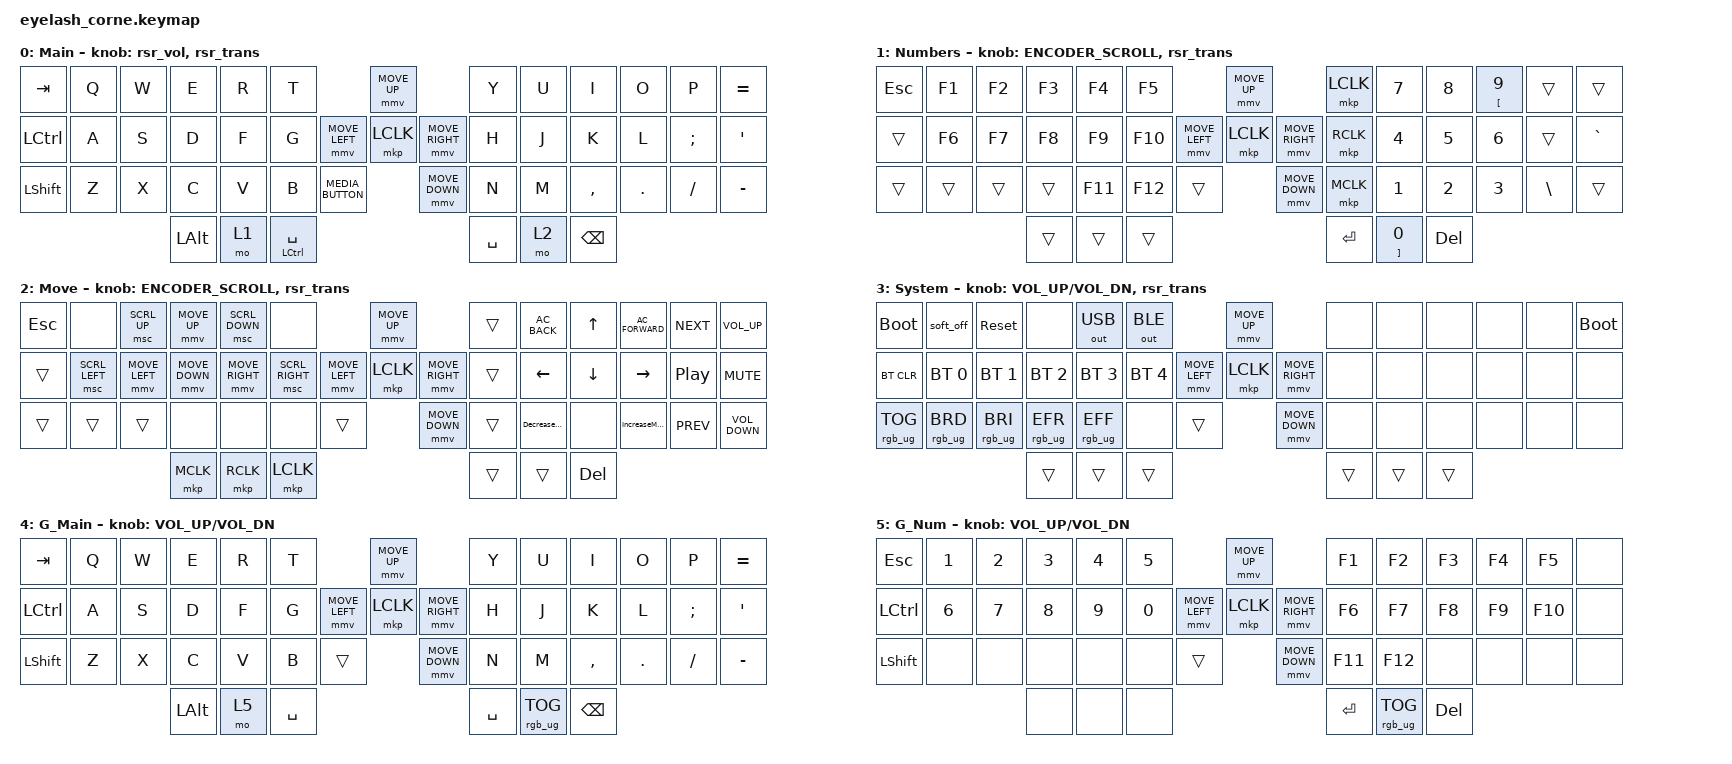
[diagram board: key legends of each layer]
#define ZMK_POINTING_DEFAULT_MOVE_VAL 1200  // 600
#define ZMK_POINTING_DEFAULT_SCRL_VAL 25   // 10

#include <input/processors.dtsi>
#include <zephyr/dt-bindings/input/input-event-codes.h>
#include <behaviors/runtime-sensor-rotate.dtsi>
#include <behaviors.dtsi>
#include <dt-bindings/zmk/bt.h>
#include <dt-bindings/zmk/keys.h>
#include <dt-bindings/zmk/outputs.h>
#include <dt-bindings/zmk/pointing.h>
#include <dt-bindings/zmk/rgb.h>

/ {
    behaviors {
        rsr_vol: rsr_vol {
            compatible = "zmk,behavior-runtime-sensor-rotate";
            #sensor-binding-cells = <0>;
            tap-ms = <5>;
            cw-binding = <&kp C_VOL_UP>;
            ccw-binding = <&kp C_VOL_DN>;
        };

        rsr_trans: rsr_trans {
            compatible = "zmk,behavior-runtime-sensor-rotate";
            #sensor-binding-cells = <0>;
            tap-ms = <0>;
        };

        ALT_WINDOWS: ALT_WINDOWS {
            compatible = "zmk,behavior-tap-dance";
            label = "ALT_WINDOWS";
            #binding-cells = <0>;
            bindings = <&kp LEFT_ALT>, <&kp LEFT_WIN>;
        };

        TAP_PREF: TAP_PREF {
            compatible = "zmk,behavior-hold-tap";
            label = "TAP_PREF";
            bindings = <&kp>, <&kp>;

            #binding-cells = <2>;
            tapping-term-ms = <200>;
            flavor = "tap-preferred";
        };

        SHIFT_CAPS: SHIFT_CAPS {
            compatible = "zmk,behavior-tap-dance";
            label = "SHIFT_CAPS";
            #binding-cells = <0>;
            bindings = <&kp LEFT_SHIFT>, <&kp CAPSLOCK>;
        };

        MEDIA_BUTTON: MEDIA_BUTTON {
            compatible = "zmk,behavior-tap-dance";
            label = "MEDIA_BUTTON";
            #binding-cells = <0>;
            bindings = <&kp C_PP>, <&kp C_NEXT>, <&kp C_PREVIOUS>;
        };

        ENCODER_SCROLL: ENCODER_SCROLL {
            compatible = "zmk,behavior-sensor-rotate";
            label = "ENCODER_SCROLL";
            #sensor-binding-cells = <0>;
            bindings = <&msc SCRL_UP>, <&msc SCRL_DOWN>;
        };
    };

    combos {
        compatible = "zmk,combos";

        Screenshot-Left {
            bindings = <&Screenshot>;
            key-positions = <14 15 16>;
            layers = <0 5>;
        };

        Screenshot-Right {
            bindings = <&Screenshot>;
            key-positions = <26 25 24>;
            layers = <0 4>;
        };

        Home {
            bindings = <&kp HOME>;
            key-positions = <23 24>;
            layers = <2>;
        };

        End {
            bindings = <&kp END>;
            key-positions = <25 24>;
            layers = <2>;
        };

        Pg-Down {
            bindings = <&kp PAGE_DOWN>;
            key-positions = <23 24 25>;
            layers = <2>;
        };

        Pg-Up {
            bindings = <&kp PAGE_UP>;
            key-positions = <9 23 25>;
            layers = <2>;
        };

        ShiftTab {
            bindings = <&ShiftTab>;
            key-positions = <1 0>;
            layers = <0 4 2 1>;
        };

        System-Layer {
            bindings = <&mo 3>;
            key-positions = <43 46>;
            layers = <0>;
        };

        Enable-Gaming-Layer {
            bindings = <&EnableGamingAndRGB>;
            key-positions = <14 2 16>;
            layers = <0>;
        };

        Reset-To-Main-Layer {
            bindings = <&EnableMainLayerAndDisableRGB>;
            key-positions = <15 16 17>;
            layers = <4 5>;
        };

        GamingF1 {
            bindings = <&kp F1>;
            key-positions = <1 2>;
            layers = <5>;
        };

        GamingF2 {
            bindings = <&kp F2>;
            key-positions = <14 15>;
            layers = <5>;
        };

        GamingF3 {
            bindings = <&kp F3>;
            key-positions = <29 30>;
            layers = <5>;
        };

        Windows {
            bindings = <&kp LEFT_WIN>;
            key-positions = <42 43>;
            layers = <0 4>;
        };

        Caps {
            bindings = <&kp CAPS>;
            key-positions = <28 29>;
            layers = <0 1 5>;
        };
    };

    macros {
        Screenshot: Screenshot {
            compatible = "zmk,behavior-macro";
            #binding-cells = <0>;
            bindings = <&kp LG(LS(S))>;
            label = "SCREENSHOT";
        };

        ShiftTab: ShiftTab {
            compatible = "zmk,behavior-macro";
            #binding-cells = <0>;
            bindings = <&kp LS(TAB)>;
            label = "SHIFTTAB";
        };

        IncreaseMouseSpeed: Increase_Mouse_Speed {
            compatible = "zmk,behavior-macro";
            #binding-cells = <0>;
            bindings = <&mmv MOVE_X(100) &mmv MOVE_Y(100)>;
            label = "INCREASE_MOUSE_SPEED";
        };

        DecreaseMouseSpeed: DecreaseMouseSpeed {
            compatible = "zmk,behavior-macro";
            #binding-cells = <0>;
            bindings = <&mmv MOVE_X(-100) &mmv MOVE_Y(-100)>;
            label = "DECREASEMOUSESPEED";
        };

        TogGamingAndRGB: GamingTogAndRGB {
            compatible = "zmk,behavior-macro";
            #binding-cells = <0>;
            bindings = <&rgb_ug RGB_TOG &tog 4>;
            label = "GAMINGTOGANDRGB";
        };

        EnableGamingAndRGB: NEW_ENABLE_GAMING {
            compatible = "zmk,behavior-macro";
            #binding-cells = <0>;
            bindings = <&rgb_ug RGB_ON &to 4>;
            label = "NEW_ENABLE_GAMING";
        };

        EnableMainLayerAndDisableRGB: EnableMainLayerAndDisableRGB {
            compatible = "zmk,behavior-macro";
            #binding-cells = <0>;
            bindings = <&rgb_ug RGB_OFF &to 0>;
            label = "ENABLEMAINLAYERANDDISABLERGB";
        };
    };

    keymap {
        compatible = "zmk,keymap";

        Main {
            display-name = "Main";
            bindings = <
&kp TAB           &kp Q  &kp W  &kp E         &kp R  &kp T                                                    &mmv MOVE_UP                     &kp Y      &kp U  &kp I          &kp O    &kp P     &kp EQUAL
&kp LEFT_CONTROL  &kp A  &kp S  &kp D         &kp F  &kp G                                    &mmv MOVE_LEFT  &mkp LCLK       &mmv MOVE_RIGHT  &kp H      &kp J  &kp K          &kp L    &kp SEMI  &kp SQT
&kp LEFT_SHIFT    &kp Z  &kp X  &kp C         &kp V  &kp B                   &MEDIA_BUTTON                    &mmv MOVE_DOWN                   &kp N      &kp M  &kp COMMA      &kp DOT  &kp FSLH  &kp MINUS
                                &kp LEFT_ALT  &mo 1  &mt LEFT_CONTROL SPACE                                                                    &kp SPACE  &mo 2  &kp BACKSPACE
            >;

            sensor-bindings = <&rsr_vol &rsr_trans>;
            label = "Main";
        };

        Numbers {
            display-name = "Numbers";
            bindings = <
&kp ESCAPE  &kp F1  &kp F2  &kp F3  &kp F4   &kp F5                             &mmv MOVE_UP                     &mkp LCLK  &kp N7                      &kp N8        &TAP_PREF LEFT_BRACKET N9  &trans         &trans
&trans      &kp F6  &kp F7  &kp F8  &kp F9   &kp F10            &mmv MOVE_LEFT  &mkp LCLK       &mmv MOVE_RIGHT  &mkp RCLK  &kp NUMBER_4                &kp N5        &kp NUMBER_6               &trans         &kp GRAVE
&trans      &trans  &trans  &trans  &kp F11  &kp F12  &trans                    &mmv MOVE_DOWN                   &mkp MCLK  &kp NUMBER_1                &kp NUMBER_2  &kp NUMBER_3               &kp BACKSLASH  &trans
                            &trans  &trans   &trans                                                              &kp ENTER  &TAP_PREF RIGHT_BRACKET N0  &kp DELETE
            >;

            sensor-bindings = <&ENCODER_SCROLL>, <&rsr_trans>;
        };

        Move {
            display-name = "Move";
            bindings = <
&kp ESCAPE  &none           &msc SCRL_UP    &mmv MOVE_UP    &msc SCRL_DOWN   &none                                      &mmv MOVE_UP                     &trans  &kp C_AC_BACK        &kp UP_ARROW  &kp C_AC_FORWARD     &kp C_NEXT  &kp C_VOLUME_UP
&trans      &msc SCRL_LEFT  &mmv MOVE_LEFT  &mmv MOVE_DOWN  &mmv MOVE_RIGHT  &msc SCRL_RIGHT            &mmv MOVE_LEFT  &mkp LCLK       &mmv MOVE_RIGHT  &trans  &kp LEFT             &kp DOWN      &kp RIGHT            &kp C_PP    &kp C_MUTE
&trans      &trans          &trans          &none           &none            &none            &trans                    &mmv MOVE_DOWN                   &trans  &DecreaseMouseSpeed  &none         &IncreaseMouseSpeed  &kp C_PREV  &kp C_VOLUME_DOWN
                                            &mkp MCLK       &mkp RCLK        &mkp LCLK                                                                   &trans  &trans               &kp DEL
            >;

            sensor-bindings = <&ENCODER_SCROLL>, <&rsr_trans>;
        };

        System {
            display-name = "System";
            bindings = <
&bootloader      &soft_off        &sys_reset       &none            &out OUT_USB     &out OUT_BLE                            &mmv MOVE_UP                     &none   &none   &none   &none  &none  &bootloader
&bt BT_CLR       &bt BT_SEL 0     &bt BT_SEL 1     &bt BT_SEL 2     &bt BT_SEL 3     &bt BT_SEL 4            &mmv MOVE_LEFT  &mkp LCLK       &mmv MOVE_RIGHT  &none   &none   &none   &none  &none  &none
&rgb_ug RGB_TOG  &rgb_ug RGB_BRD  &rgb_ug RGB_BRI  &rgb_ug RGB_EFR  &rgb_ug RGB_EFF  &none         &trans                    &mmv MOVE_DOWN                   &none   &none   &none   &none  &none  &none
                                                   &trans           &trans           &trans                                                                   &trans  &trans  &trans
            >;

            sensor-bindings = <&inc_dec_kp C_VOLUME_UP C_VOL_DN>, <&rsr_trans>;
        };

        G_Main {
            bindings = <
&kp TAB         &kp Q  &kp W  &kp E         &kp R  &kp T                                &mmv MOVE_UP                     &kp Y      &kp U            &kp I      &kp O    &kp P     &kp EQUAL
&kp LCTRL       &kp A  &kp S  &kp D         &kp F  &kp G                &mmv MOVE_LEFT  &mkp LCLK       &mmv MOVE_RIGHT  &kp H      &kp J            &kp K      &kp L    &kp SEMI  &kp SQT
&kp LEFT_SHIFT  &kp Z  &kp X  &kp C         &kp V  &kp B      &trans                    &mmv MOVE_DOWN                   &kp N      &kp M            &kp COMMA  &kp DOT  &kp FSLH  &kp MINUS
                              &kp LEFT_ALT  &mo 5  &kp SPACE                                                             &kp SPACE  &rgb_ug RGB_TOG  &kp BSPC
            >;

            sensor-bindings = <&inc_dec_kp C_VOLUME_UP C_VOL_DN>;
            label = "G_Main";
        };

        G_Num {
            bindings = <
&kp ESC         &kp N1  &kp N2  &kp N3  &kp N4  &kp N5                            &mmv MOVE_UP                     &kp F1     &kp F2           &kp F3   &kp F4  &kp F5   &none
&kp LCTRL       &kp N6  &kp N7  &kp N8  &kp N9  &kp N0            &mmv MOVE_LEFT  &mkp LCLK       &mmv MOVE_RIGHT  &kp F6     &kp F7           &kp F8   &kp F9  &kp F10  &none
&kp LEFT_SHIFT  &none   &none   &none   &none   &none   &trans                    &mmv MOVE_DOWN                   &kp F11    &kp F12          &none    &none   &none    &none
                                &none   &none   &none                                                              &kp ENTER  &rgb_ug RGB_TOG  &kp DEL
            >;

            sensor-bindings = <&inc_dec_kp C_VOLUME_UP C_VOL_DN>;
            label = "G_Num";
        };
    };
};
